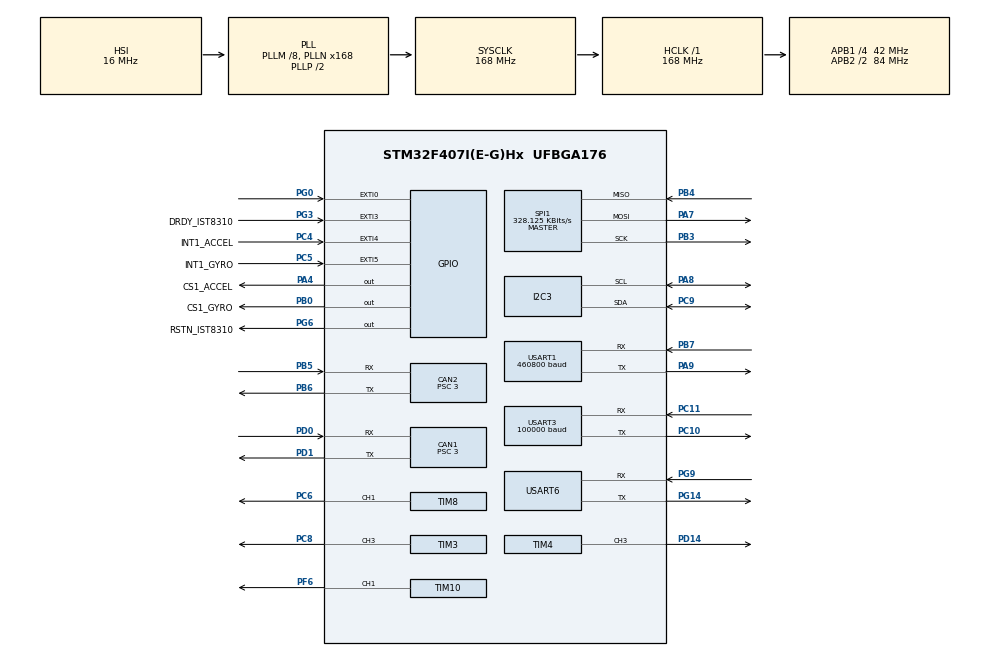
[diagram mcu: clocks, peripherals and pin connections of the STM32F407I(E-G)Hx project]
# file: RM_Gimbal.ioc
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CAN1.BS1=CAN_BS1_10TQ
CAN1.BS2=CAN_BS2_3TQ
CAN1.CalculateBaudRate=1000000
CAN1.CalculateTimeBit=1000
CAN1.CalculateTimeQuantum=71.42857142857143
CAN1.Prescaler=3
CAN2.BS1=CAN_BS1_10TQ
CAN2.BS2=CAN_BS2_3TQ
CAN2.CalculateBaudRate=1000000
CAN2.CalculateTimeBit=1000
CAN2.CalculateTimeQuantum=71.42857142857143
CAN2.Prescaler=3
Dma.Request0=USART3_RX
Dma.Request1=USART1_TX
Dma.Request2=SPI1_RX
Dma.Request3=SPI1_TX
Dma.Request4=USART6_TX
Dma.Request5=USART1_RX
Dma.Request6=USART6_RX
Dma.SPI1_RX.2.Direction=DMA_PERIPH_TO_MEMORY
Dma.SPI1_RX.2.FIFOMode=DMA_FIFOMODE_DISABLE
Dma.SPI1_RX.2.Instance=DMA2_Stream2
Dma.SPI1_RX.2.MemDataAlignment=DMA_MDATAALIGN_BYTE
Dma.SPI1_RX.2.MemInc=DMA_MINC_ENABLE
Dma.SPI1_RX.2.Mode=DMA_NORMAL
Dma.SPI1_RX.2.PeriphDataAlignment=DMA_PDATAALIGN_BYTE
Dma.SPI1_RX.2.PeriphInc=DMA_PINC_DISABLE
Dma.SPI1_RX.2.Priority=DMA_PRIORITY_VERY_HIGH
Dma.SPI1_TX.3.Direction=DMA_MEMORY_TO_PERIPH
Dma.SPI1_TX.3.FIFOMode=DMA_FIFOMODE_DISABLE
Dma.SPI1_TX.3.Instance=DMA2_Stream3
Dma.SPI1_TX.3.MemDataAlignment=DMA_MDATAALIGN_BYTE
Dma.SPI1_TX.3.MemInc=DMA_MINC_ENABLE
Dma.SPI1_TX.3.Mode=DMA_NORMAL
Dma.SPI1_TX.3.PeriphDataAlignment=DMA_PDATAALIGN_BYTE
Dma.SPI1_TX.3.PeriphInc=DMA_PINC_DISABLE
Dma.SPI1_TX.3.Priority=DMA_PRIORITY_HIGH
Dma.USART1_RX.5.Direction=DMA_PERIPH_TO_MEMORY
Dma.USART1_RX.5.FIFOMode=DMA_FIFOMODE_DISABLE
Dma.USART1_RX.5.Instance=DMA2_Stream5
Dma.USART1_RX.5.MemDataAlignment=DMA_MDATAALIGN_BYTE
Dma.USART1_RX.5.MemInc=DMA_MINC_ENABLE
Dma.USART1_RX.5.Mode=DMA_CIRCULAR
Dma.USART1_RX.5.PeriphDataAlignment=DMA_PDATAALIGN_BYTE
Dma.USART1_RX.5.PeriphInc=DMA_PINC_DISABLE
Dma.USART1_RX.5.Priority=DMA_PRIORITY_VERY_HIGH
Dma.USART1_TX.1.Direction=DMA_MEMORY_TO_PERIPH
Dma.USART1_TX.1.FIFOMode=DMA_FIFOMODE_DISABLE
Dma.USART1_TX.1.Instance=DMA2_Stream7
Dma.USART1_TX.1.MemDataAlignment=DMA_MDATAALIGN_BYTE
Dma.USART1_TX.1.MemInc=DMA_MINC_ENABLE
Dma.USART1_TX.1.Mode=DMA_NORMAL
Dma.USART1_TX.1.PeriphDataAlignment=DMA_PDATAALIGN_BYTE
Dma.USART1_TX.1.PeriphInc=DMA_PINC_DISABLE
Dma.USART1_TX.1.Priority=DMA_PRIORITY_VERY_HIGH
Dma.USART3_RX.0.Direction=DMA_PERIPH_TO_MEMORY
Dma.USART3_RX.0.FIFOMode=DMA_FIFOMODE_DISABLE
Dma.USART3_RX.0.Instance=DMA1_Stream1
Dma.USART3_RX.0.MemDataAlignment=DMA_MDATAALIGN_BYTE
Dma.USART3_RX.0.MemInc=DMA_MINC_ENABLE
Dma.USART3_RX.0.Mode=DMA_CIRCULAR
Dma.USART3_RX.0.PeriphDataAlignment=DMA_PDATAALIGN_BYTE
Dma.USART3_RX.0.PeriphInc=DMA_PINC_DISABLE
Dma.USART3_RX.0.Priority=DMA_PRIORITY_VERY_HIGH
Dma.USART6_RX.6.Direction=DMA_PERIPH_TO_MEMORY
Dma.USART6_RX.6.FIFOMode=DMA_FIFOMODE_DISABLE
Dma.USART6_RX.6.Instance=DMA2_Stream1
Dma.USART6_RX.6.MemDataAlignment=DMA_MDATAALIGN_BYTE
Dma.USART6_RX.6.MemInc=DMA_MINC_ENABLE
Dma.USART6_RX.6.Mode=DMA_NORMAL
Dma.USART6_RX.6.PeriphDataAlignment=DMA_PDATAALIGN_BYTE
Dma.USART6_RX.6.PeriphInc=DMA_PINC_DISABLE
Dma.USART6_RX.6.Priority=DMA_PRIORITY_VERY_HIGH
Dma.USART6_TX.4.Direction=DMA_MEMORY_TO_PERIPH
Dma.USART6_TX.4.FIFOMode=DMA_FIFOMODE_DISABLE
Dma.USART6_TX.4.Instance=DMA2_Stream6
Dma.USART6_TX.4.MemDataAlignment=DMA_MDATAALIGN_BYTE
Dma.USART6_TX.4.MemInc=DMA_MINC_ENABLE
Dma.USART6_TX.4.Mode=DMA_NORMAL
Dma.USART6_TX.4.PeriphDataAlignment=DMA_PDATAALIGN_BYTE
Dma.USART6_TX.4.PeriphInc=DMA_PINC_DISABLE
Dma.USART6_TX.4.Priority=DMA_PRIORITY_VERY_HIGH
FREERTOS.INCLUDE_eTaskGetState=1
FREERTOS.INCLUDE_pcTaskGetTaskName=1
FREERTOS.INCLUDE_uxTaskGetStackHighWaterMark=1
FREERTOS.INCLUDE_vTaskCleanUpResources=1
FREERTOS.INCLUDE_vTaskDelayUntil=1
FREERTOS.INCLUDE_xQueueGetMutexHolder=1
FREERTOS.INCLUDE_xSemaphoreGetMutexHolder=1
FREERTOS.INCLUDE_xTaskAbortDelay=1
FREERTOS.INCLUDE_xTaskGetCurrentTaskHandle=1
FREERTOS.INCLUDE_xTaskGetHandle=1
FREERTOS.Tasks01=test,0,128,test_task,As weak,NULL,Dynamic,NULL,NULL;gimbalTask,2,512,gimbal_task,As weak,NULL,Dynamic,NULL,NULL;imuTask,3,1024,ins_task,As weak,NULL,Dynamic,NULL,NULL;VOFATask,0,128,VOFA_task,As weak,NULL,Dynamic,NULL,NULL;pcTask,0,256,pc_task,As weak,NULL,Dynamic,NULL,NULL
I2C3.I2C_Mode=I2C_Fast
Mcu.Family=STM32F4
Mcu.Name=STM32F407I(E-G)Hx
Mcu.Package=UFBGA176
NVIC.CAN1_RX0_IRQn=true\:5\:0\:false\:false\:true\:true\:true\:true\:true
NVIC.CAN2_RX0_IRQn=true\:5\:0\:false\:false\:true\:true\:true\:true\:true
NVIC.DMA1_Stream1_IRQn=true\:5\:0\:false\:false\:true\:true\:false\:true\:true
NVIC.DMA2_Stream1_IRQn=true\:5\:0\:false\:false\:true\:true\:false\:true\:true
NVIC.DMA2_Stream2_IRQn=true\:5\:0\:false\:false\:true\:false\:false\:true\:true
NVIC.DMA2_Stream3_IRQn=true\:5\:0\:false\:false\:true\:true\:false\:true\:true
NVIC.DMA2_Stream5_IRQn=true\:5\:0\:false\:false\:true\:true\:false\:true\:true
NVIC.DMA2_Stream6_IRQn=true\:5\:0\:false\:false\:true\:true\:false\:true\:true
NVIC.DMA2_Stream7_IRQn=true\:5\:0\:false\:false\:true\:true\:false\:true\:true
NVIC.EXTI0_IRQn=true\:5\:0\:false\:false\:true\:true\:true\:true\:true
NVIC.EXTI3_IRQn=true\:5\:0\:false\:false\:true\:true\:true\:true\:true
NVIC.EXTI4_IRQn=true\:5\:0\:false\:false\:true\:true\:true\:true\:true
NVIC.EXTI9_5_IRQn=true\:5\:0\:false\:false\:true\:true\:true\:true\:true
NVIC.PriorityGroup=NVIC_PRIORITYGROUP_4
NVIC.TIM7_IRQn=true\:15\:0\:false\:false\:true\:false\:false\:true\:true
NVIC.TimeBase=TIM7_IRQn
NVIC.TimeBaseIP=TIM7
NVIC.USART1_IRQn=true\:5\:0\:false\:false\:true\:true\:true\:true\:true
NVIC.USART3_IRQn=true\:5\:0\:false\:false\:true\:true\:true\:true\:true
NVIC.USART6_IRQn=true\:5\:0\:false\:false\:true\:true\:true\:true\:true
PA13.Mode=Serial_Wire
PA13.Signal=SYS_JTMS-SWDIO
PA14.Mode=Serial_Wire
PA14.Signal=SYS_JTCK-SWCLK
PA4.GPIO_Label=CS1_ACCEL
PA4.GPIO_PuPd=GPIO_PULLUP
PA4.GPIO_Speed=GPIO_SPEED_FREQ_HIGH
PA4.PinState=GPIO_PIN_SET
PA4.Signal=GPIO_Output
PA7.Mode=Full_Duplex_Master
PA7.Signal=SPI1_MOSI
PA8.Mode=I2C
PA8.Signal=I2C3_SCL
PA9.Mode=Asynchronous
PA9.Signal=USART1_TX
PB0.GPIO_Label=CS1_GYRO
PB0.GPIO_PuPd=GPIO_PULLUP
PB0.GPIO_Speed=GPIO_SPEED_FREQ_HIGH
PB0.PinState=GPIO_PIN_SET
PB0.Signal=GPIO_Output
PB3.Mode=Full_Duplex_Master
PB3.Signal=SPI1_SCK
PB4.Mode=Full_Duplex_Master
PB4.Signal=SPI1_MISO
PB5.Mode=CAN_Activate
PB5.Signal=CAN2_RX
PB6.Mode=CAN_Activate
PB6.Signal=CAN2_TX
PB7.Mode=Asynchronous
PB7.Signal=USART1_RX
PC10.Mode=Asynchronous
PC10.Signal=USART3_TX
PC11.Mode=Asynchronous
PC11.Signal=USART3_RX
PC4.GPIO_Label=INT1_ACCEL
PC4.GPIO_ModeDefaultEXTI=GPIO_MODE_IT_FALLING
PC4.GPIO_PuPd=GPIO_PULLUP
PC4.Signal=GPXTI4
PC5.GPIO_Label=INT1_GYRO
PC5.GPIO_ModeDefaultEXTI=GPIO_MODE_IT_FALLING
PC5.GPIO_PuPd=GPIO_PULLUP
PC5.Signal=GPXTI5
PC6.GPIO_PuPd=GPIO_PULLUP
PC6.GPIO_Speed=GPIO_SPEED_FREQ_HIGH
PC6.Signal=S_TIM8_CH1
PC8.GPIO_PuPd=GPIO_PULLUP
PC8.GPIO_Speed=GPIO_SPEED_FREQ_HIGH
PC8.Signal=S_TIM3_CH3
PC9.Mode=I2C
PC9.Signal=I2C3_SDA
PD0.Mode=CAN_Activate
PD0.Signal=CAN1_RX
PD1.Mode=CAN_Activate
PD1.Signal=CAN1_TX
PD14.GPIO_Speed=GPIO_SPEED_FREQ_HIGH
PD14.Signal=S_TIM4_CH3
PF6.GPIO_PuPd=GPIO_PULLUP
PF6.GPIO_Speed=GPIO_SPEED_FREQ_HIGH
PF6.Signal=S_TIM10_CH1
PG0.GPIO_ModeDefaultEXTI=GPIO_MODE_IT_FALLING
PG0.GPIO_PuPd=GPIO_PULLUP
PG0.Signal=GPXTI0
PG14.Mode=Asynchronous
PG14.Signal=USART6_TX
PG3.GPIO_Label=DRDY_IST8310
PG3.GPIO_ModeDefaultEXTI=GPIO_MODE_IT_FALLING
PG3.GPIO_PuPd=GPIO_PULLUP
PG3.Signal=GPXTI3
PG6.GPIO_Label=RSTN_IST8310
PG6.GPIO_PuPd=GPIO_PULLUP
PG6.GPIO_Speed=GPIO_SPEED_FREQ_MEDIUM
PG6.PinState=GPIO_PIN_SET
PG6.Signal=GPIO_Output
PG9.Mode=Asynchronous
PG9.Signal=USART6_RX
PH0-OSC_IN.Mode=HSE-External-Oscillator
PH0-OSC_IN.Signal=RCC_OSC_IN
PH1-OSC_OUT.Mode=HSE-External-Oscillator
PH1-OSC_OUT.Signal=RCC_OSC_OUT
ProjectManager.HeapSize=0x3000
ProjectManager.StackSize=0x3500
ProjectManager.TargetToolchain=MDK-ARM V5.32
RCC.48MHZClocksFreq_Value=84000000
RCC.AHBFreq_Value=168000000
RCC.APB1CLKDivider=RCC_HCLK_DIV4
RCC.APB1Freq_Value=42000000
RCC.APB1TimFreq_Value=84000000
RCC.APB2CLKDivider=RCC_HCLK_DIV2
RCC.APB2Freq_Value=84000000
RCC.APB2TimFreq_Value=168000000
RCC.CortexFreq_Value=168000000
RCC.HCLKFreq_Value=168000000
RCC.HSE_VALUE=25000000
RCC.HSI_VALUE=16000000
RCC.LSE_VALUE=32768
RCC.PLLM=8
RCC.PLLN=168
RCC.SYSCLKFreq_VALUE=168000000
RCC.SYSCLKSource=RCC_SYSCLKSOURCE_PLLCLK
RCC.VCOOutputFreq_Value=336000000
SH.S_TIM10_CH1.0=TIM10_CH1,PWM Generation1 CH1
SH.S_TIM3_CH3.0=TIM3_CH3,PWM Generation3 CH3
SH.S_TIM4_CH3.0=TIM4_CH3,PWM Generation3 CH3
SH.S_TIM8_CH1.0=TIM8_CH1,PWM Generation1 CH1
SPI1.BaudRatePrescaler=SPI_BAUDRATEPRESCALER_256
SPI1.CLKPhase=SPI_PHASE_2EDGE
SPI1.CalculateBaudRate=328.125 KBits/s
SPI1.Direction=SPI_DIRECTION_2LINES
SPI1.Mode=SPI_MODE_MASTER
SPI1.VirtualType=VM_MASTER
TIM10.Channel=TIM_CHANNEL_1
TIM10.Period=4999
TIM3.Channel-PWM\ Generation3\ CH3=TIM_CHANNEL_3
TIM3.Period=8399
TIM4.Channel-PWM\ Generation3\ CH3=TIM_CHANNEL_3
TIM4.Prescaler=167
TIM8.Channel-PWM\ Generation1\ CH1=TIM_CHANNEL_1
TIM8.Period=19999
TIM8.Prescaler=167
USART1.BaudRate=460800
USART1.VirtualMode=VM_ASYNC
USART3.BaudRate=100000
USART3.VirtualMode=VM_ASYNC
USART6.VirtualMode=VM_ASYNC
VP_FREERTOS_VS_CMSIS_V1.Mode=CMSIS_V1
VP_SYS_VS_tim7.Mode=TIM7
VP_TIM10_VS_ClockSourceINT.Mode=Enable_Timer
VP_TIM3_VS_ClockSourceINT.Mode=Internal
VP_TIM4_VS_ClockSourceINT.Mode=Internal
VP_TIM8_VS_ClockSourceINT.Mode=Internal
board=custom

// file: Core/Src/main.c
/* USER CODE BEGIN Header */
/**
  ******************************************************************************
  * @file           : main.c
  * @brief          : Main program body
  ******************************************************************************
  * @attention
  *
  * Copyright (c) 2023 STMicroelectronics.
  * All rights reserved.
  *
  * This software is licensed under terms that can be found in the LICENSE file
  * in the root directory of this software component.
  * If no LICENSE file comes with this software, it is provided AS-IS.
  *
  ******************************************************************************
  */
/* USER CODE END Header */
#include "main.h"
#include "cmsis_os.h"
#include "can.h"
#include "dma.h"
#include "i2c.h"
#include "spi.h"
#include "tim.h"
#include "usart.h"
#include "gpio.h"

/* USER CODE BEGIN Includes */
#include "remote_control.h"
#include "bsp_can.h"
#include "bsp_delay.h"
#include "buzzer.h"
#include "bsp_usart.h"
#include "bsp_dwt.h"
#include "BMI088driver.h"
#include "can_communicate.h"
#include "CyberGear.h"
/* USER CODE END Includes */

void SystemClock_Config(void);
void MX_FREERTOS_Init(void);

int main(void)
{

  /* MCU Configuration--------------------------------------------------------*/

  /* Reset of all peripherals, Initializes the Flash interface and the Systick. */
  HAL_Init();

  /* Configure the system clock */
  SystemClock_Config();

  /* Initialize all configured peripherals */
  MX_GPIO_Init();
  MX_DMA_Init();
  MX_CAN1_Init();
  MX_CAN2_Init();
  MX_USART1_UART_Init();
  MX_USART3_UART_Init();
  MX_TIM10_Init();
  MX_TIM4_Init();
  MX_I2C3_Init();
  MX_SPI1_Init();
  MX_TIM3_Init();
  MX_TIM8_Init();
  MX_USART6_UART_Init();
  /* USER CODE BEGIN 2 */
		remote_control_init();
		can_filter_init();
		delay_init();
		buzzer_int();
    DWT_Init(168);

  /* USER CODE END 2 */

  /* Call init function for freertos objects (in freertos.c) */
  MX_FREERTOS_Init();

  /* Start scheduler */
  osKernelStart();

  /* We should never get here as control is now taken by the scheduler */
  /* Infinite loop */
  while (1)
  {

  }
}

void SystemClock_Config(void)
{
  RCC_OscInitTypeDef RCC_OscInitStruct = {0};
  RCC_ClkInitTypeDef RCC_ClkInitStruct = {0};

  /** Configure the main internal regulator output voltage
  */
  __HAL_RCC_PWR_CLK_ENABLE();
  __HAL_PWR_VOLTAGESCALING_CONFIG(PWR_REGULATOR_VOLTAGE_SCALE1);

  /** Initializes the RCC Oscillators according to the specified parameters
  * in the RCC_OscInitTypeDef structure.
  */
  RCC_OscInitStruct.OscillatorType = RCC_OSCILLATORTYPE_HSI;
  RCC_OscInitStruct.HSIState = RCC_HSI_ON;
  RCC_OscInitStruct.HSICalibrationValue = RCC_HSICALIBRATION_DEFAULT;
  RCC_OscInitStruct.PLL.PLLState = RCC_PLL_ON;
  RCC_OscInitStruct.PLL.PLLSource = RCC_PLLSOURCE_HSI;
  RCC_OscInitStruct.PLL.PLLM = 8;
  RCC_OscInitStruct.PLL.PLLN = 168;
  RCC_OscInitStruct.PLL.PLLP = RCC_PLLP_DIV2;
  RCC_OscInitStruct.PLL.PLLQ = 4;
  if (HAL_RCC_OscConfig(&RCC_OscInitStruct) != HAL_OK)
  {
    Error_Handler();
  }

  /** Initializes the CPU, AHB and APB buses clocks
  */
  RCC_ClkInitStruct.ClockType = RCC_CLOCKTYPE_HCLK|RCC_CLOCKTYPE_SYSCLK
                              |RCC_CLOCKTYPE_PCLK1|RCC_CLOCKTYPE_PCLK2;
  RCC_ClkInitStruct.SYSCLKSource = RCC_SYSCLKSOURCE_PLLCLK;
  RCC_ClkInitStruct.AHBCLKDivider = RCC_SYSCLK_DIV1;
  RCC_ClkInitStruct.APB1CLKDivider = RCC_HCLK_DIV4;
  RCC_ClkInitStruct.APB2CLKDivider = RCC_HCLK_DIV2;

  if (HAL_RCC_ClockConfig(&RCC_ClkInitStruct, FLASH_LATENCY_5) != HAL_OK)
  {
    Error_Handler();
  }
}

void HAL_TIM_PeriodElapsedCallback(TIM_HandleTypeDef *htim)
{
  if (htim->Instance == TIM7) {
    HAL_IncTick();
  }
}

void Error_Handler(void)
{
  __disable_irq();
  while (1)
  {
  }
}

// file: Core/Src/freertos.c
/* USER CODE BEGIN Header */
/**
  ******************************************************************************
  * File Name          : freertos.c
  * Description        : Code for freertos applications
  ******************************************************************************
  * @attention
  *
  * Copyright (c) 2023 STMicroelectronics.
  * All rights reserved.
  *
  * This software is licensed under terms that can be found in the LICENSE file
  * in the root directory of this software component.
  * If no LICENSE file comes with this software, it is provided AS-IS.
  *
  ******************************************************************************
  */
/* USER CODE END Header */

#include "FreeRTOS.h"
#include "task.h"
#include "main.h"
#include "cmsis_os.h"

/* USER CODE BEGIN Includes */
#include "motor_task.h"
#include "usart_communicate.h"
#include "referee_usart_task.h"
#include "UI_task.h"
/* USER CODE END Includes */

osThreadId testHandle;
//osThreadId gimbalTaskHandle;
osThreadId imuTaskHandle;
//osThreadId VOFATaskHandle;
//osThreadId pcTaskHandle;

/* USER CODE BEGIN FunctionPrototypes */
osThreadId motorTaskHandle;
osThreadId uasrtcommunicateTaskHandle;
osThreadId refereecommunicateTaskHandle;
osThreadId UItaskHandle;
/* USER CODE END FunctionPrototypes */

void test_task(void const * argument);
void gimbal_task(void const * argument);
void ins_task(void const * argument);
void VOFA_task(void const * argument);
void pc_task(void const * argument);

void MX_FREERTOS_Init(void); /* (MISRA C 2004 rule 8.1) */

/* GetIdleTaskMemory prototype (linked to static allocation support) */
void vApplicationGetIdleTaskMemory( StaticTask_t **ppxIdleTaskTCBBuffer, StackType_t **ppxIdleTaskStackBuffer, uint32_t *pulIdleTaskStackSize );

/* USER CODE BEGIN GET_IDLE_TASK_MEMORY */
static StaticTask_t xIdleTaskTCBBuffer;
static StackType_t xIdleStack[configMINIMAL_STACK_SIZE];

void vApplicationGetIdleTaskMemory( StaticTask_t **ppxIdleTaskTCBBuffer, StackType_t **ppxIdleTaskStackBuffer, uint32_t *pulIdleTaskStackSize )
{
  *ppxIdleTaskTCBBuffer = &xIdleTaskTCBBuffer;
  *ppxIdleTaskStackBuffer = &xIdleStack[0];
  *pulIdleTaskStackSize = configMINIMAL_STACK_SIZE;
  /* place for user code */
}
/* USER CODE END GET_IDLE_TASK_MEMORY */

void MX_FREERTOS_Init(void) {

  /* Create the thread(s) */
  /* definition and creation of test */
//  osThreadDef(test, test_task, osPriorityHigh, 0, 128);
//  testHandle = osThreadCreate(osThread(test), NULL);

  /* definition and creation of gimbalTask */
//  osThreadDef(gimbalTask, gimbal_task, osPriorityHigh, 0, 512);
//  gimbalTaskHandle = osThreadCreate(osThread(gimbalTask), NULL);

  /* definition and creation of imuTask */
  osThreadDef(imuTask, ins_task, osPriorityNormal, 0, 1024);
  imuTaskHandle = osThreadCreate(osThread(imuTask), NULL);

  /* definition and creation of VOFATask */
//  osThreadDef(VOFATask, VOFA_task, osPriorityNormal, 0, 128);
//  VOFATaskHandle = osThreadCreate(osThread(VOFATask), NULL);

  /* definition and creation of pcTask */
//  osThreadDef(pcTask, pc_task, osPriorityNormal, 0, 256);
//  pcTaskHandle = osThreadCreate(osThread(pcTask), NULL);

  /* USER CODE BEGIN RTOS_THREADS */
  /* add threads, ... */
//	osThreadDef(motorTask, motor_task, osPriorityNormal, 0, 1024);
//  motorTaskHandle = osThreadCreate(osThread(motorTask), NULL);

	osThreadDef(uasrtcommunicateTask, usart_communicate_task, osPriorityNormal, 0, 256);
  uasrtcommunicateTaskHandle = osThreadCreate(osThread(uasrtcommunicateTask), NULL);

	osThreadDef(refereecommunicateTask, referee_usart_task, osPriorityNormal, 0, 256);
  refereecommunicateTaskHandle = osThreadCreate(osThread(refereecommunicateTask), NULL);

	osThreadDef(UITask, ui_task, osPriorityNormal, 0, 512);
  UItaskHandle = osThreadCreate(osThread(UITask), NULL);

  /* USER CODE END RTOS_THREADS */

}

__weak void test_task(void const * argument)
{
  /* USER CODE BEGIN test_task */
  /* Infinite loop */
  for(;;)
  {

    osDelay(100);
  }
  /* USER CODE END test_task */
}

__weak void gimbal_task(void const * argument)
{
  for(;;)
  {
    osDelay(1);
  }
}

__weak void ins_task(void const * argument)
{
  for(;;)
  {
    osDelay(1);
  }
}

__weak void VOFA_task(void const * argument)
{
  for(;;)
  {
    osDelay(1);
  }
}

__weak void pc_task(void const * argument)
{
  for(;;)
  {
    osDelay(1);
  }
}
